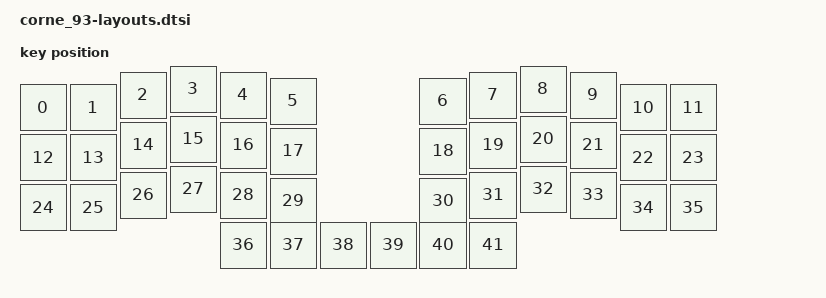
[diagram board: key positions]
// See https://zmk.dev/docs/development/hardware-integration/physical-layouts
// for how to configure this.

#include <physical_layouts.dtsi>

/ {
    default_layout: default_layout {
        compatible = "zmk,physical-layout";
        display-name = "Default Layout";
        transform = <&default_transform>;
        kscan = <&kscan>;

        // Edit this to define the positions and sizes of the keys, or remove it
        // if your keyboard will not support ZMK Studio.
        // https://zmk.dev/docs/development/hardware-integration/physical-layouts#optional-keys-property
        /* keys  //                     w   h    x    y     rot    rx    ry */
        /*     = <&key_physical_attrs 100 100    0    0       0     0     0> */
        /*     , <&key_physical_attrs 100 100  100    0       0     0     0> */
        /*     , <&key_physical_attrs 100 100    0  100       0     0     0> */
        /*     , <&key_physical_attrs 100 100  100  100       0     0     0> */
        /*     ; */
        keys  //                     w   h    x    y     rot    rx    ry
            = <&key_physical_attrs 100 100    0   37       0     0     0>
            , <&key_physical_attrs 100 100  100   37       0     0     0>
            , <&key_physical_attrs 100 100  200   12       0     0     0>
            , <&key_physical_attrs 100 100  300    0       0     0     0>
            , <&key_physical_attrs 100 100  400   12       0     0     0>
            , <&key_physical_attrs 100 100  500   24       0     0     0>
            , <&key_physical_attrs 100 100  800   24       0     0     0>
            , <&key_physical_attrs 100 100  900   12       0     0     0>
            , <&key_physical_attrs 100 100 1000    0       0     0     0>
            , <&key_physical_attrs 100 100 1100   12       0     0     0>
            , <&key_physical_attrs 100 100 1200   37       0     0     0>
            , <&key_physical_attrs 100 100 1300   37       0     0     0>
            , <&key_physical_attrs 100 100    0  137       0     0     0>
            , <&key_physical_attrs 100 100  100  137       0     0     0>
            , <&key_physical_attrs 100 100  200  112       0     0     0>
            , <&key_physical_attrs 100 100  300  100       0     0     0>
            , <&key_physical_attrs 100 100  400  112       0     0     0>
            , <&key_physical_attrs 100 100  500  124       0     0     0>
            , <&key_physical_attrs 100 100  800  124       0     0     0>
            , <&key_physical_attrs 100 100  900  112       0     0     0>
            , <&key_physical_attrs 100 100 1000  100       0     0     0>
            , <&key_physical_attrs 100 100 1100  112       0     0     0>
            , <&key_physical_attrs 100 100 1200  137       0     0     0>
            , <&key_physical_attrs 100 100 1300  137       0     0     0>
            , <&key_physical_attrs 100 100    0  237       0     0     0>
            , <&key_physical_attrs 100 100  100  237       0     0     0>
            , <&key_physical_attrs 100 100  200  212       0     0     0>
            , <&key_physical_attrs 100 100  300  200       0     0     0>
            , <&key_physical_attrs 100 100  400  212       0     0     0>
            , <&key_physical_attrs 100 100  500  224       0     0     0>
            , <&key_physical_attrs 100 100  800  224       0     0     0>
            , <&key_physical_attrs 100 100  900  212       0     0     0>
            , <&key_physical_attrs 100 100 1000  200       0     0     0>
            , <&key_physical_attrs 100 100 1100  212       0     0     0>
            , <&key_physical_attrs 100 100 1200  237       0     0     0>
            , <&key_physical_attrs 100 100 1300  237       0     0     0>
            , <&key_physical_attrs 100 100  400  312       0     0     0>
            , <&key_physical_attrs 100 100  500  312       0     0     0>
            , <&key_physical_attrs 100 100  600  312       0     0     0>
            , <&key_physical_attrs 100 100  700  312       0     0     0>
            , <&key_physical_attrs 100 100  800  312       0     0     0>
            , <&key_physical_attrs 100 100  900  312       0     0     0>
            ;
			};
	};
